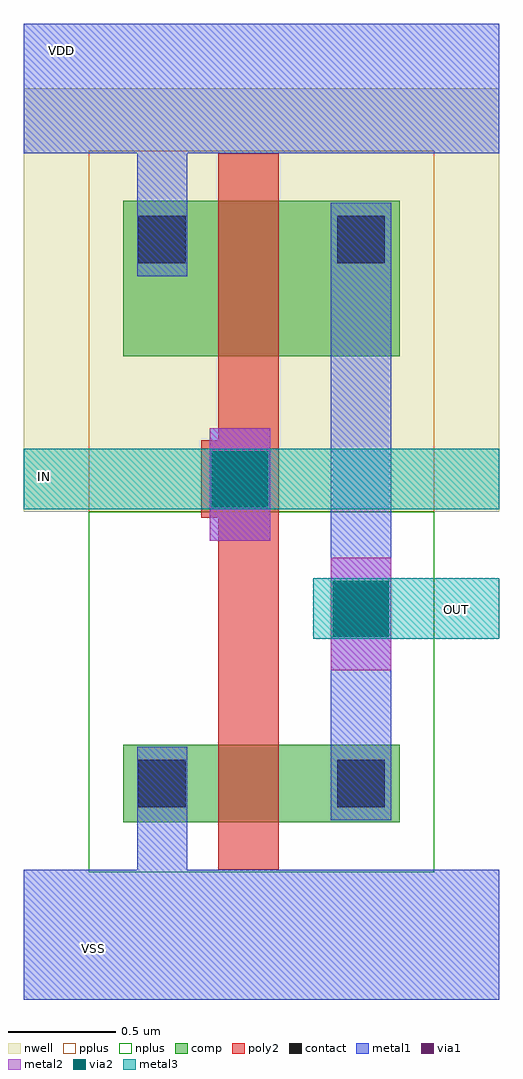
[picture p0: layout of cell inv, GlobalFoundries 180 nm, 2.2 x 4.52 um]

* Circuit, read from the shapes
.subckt inv IN OUT VDD VSS
XM1 OUT IN VSS VSUBS nfet_03v3 w=0.36u l=0.28u
XM2 OUT IN VDD n1 pfet_03v3 w=0.72u l=0.28u
.ends

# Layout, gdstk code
import gdstk
lib = gdstk.Library(unit=1e-6, precision=5e-09)
def R(c, l, rs):  # rectangles x0, y0, x1, y1
    for r in rs: c.add(gdstk.rectangle(r[:2], r[2:], *l))
nwell = (21, 0)
comp = (22, 0)
poly2 = (30, 0)
pplus = (31, 0)
nplus = (32, 0)
contact = (33, 0)
metal1 = (34, 0)
via1 = (35, 0)
metal2 = (36, 0)
via2 = (38, 0)
metal3 = (42, 0)

inv = lib.new_cell('inv')
R(inv, nwell, [(0,2.26,2.2,4.22)])
R(inv, comp, [(0.46,0.82,1.74,1.18), (0.46,2.98,1.74,3.7)])
R(inv, poly2, [(0.9,0.6,1.18,3.92), (0.82,2.23,1.18,2.59)])
R(inv, pplus, [(0.3,2.26,1.9,3.93)])
R(inv, nplus, [(0.3,0.59,1.9,2.26)])
R(inv, contact, [(0.53,0.89,0.75,1.11), (1.45,0.89,1.67,1.11), (0.89,2.3,1.11,2.52), (0.53,3.41,0.75,3.63), (1.45,3.41,1.67,3.63)])
R(inv, metal1, [(0,0,2.2,0.6), (0.525,0.6,0.755,1.17), (1.42,0.83,1.7,3.69), (0.86,2.125,1.14,2.645), (0.525,3.35,0.755,3.92), (0,3.92,2.2,4.52)])
R(inv, via1, [(1.43,1.68,1.69,1.94), (0.87,2.28,1.13,2.54)])
R(inv, metal2, [(1.42,1.525,1.7,2.045), (0.86,2.125,1.14,2.645)])
R(inv, via2, [(1.43,1.68,1.69,1.94), (0.87,2.28,1.13,2.54)])
R(inv, metal3, [(1.34,1.67,2.2,1.95), (0,2.27,2.2,2.55)])
inv.add(gdstk.Label('VDD', (0.175,4.395), layer=34, texttype=10))
inv.add(gdstk.Label('VSS', (0.32,0.235), layer=34, texttype=10))
inv.add(gdstk.Label('IN', (0.095,2.42), layer=42, texttype=10))
inv.add(gdstk.Label('OUT', (2.005,1.805), layer=42, texttype=10))

lib.write_gds('inv.gds')
